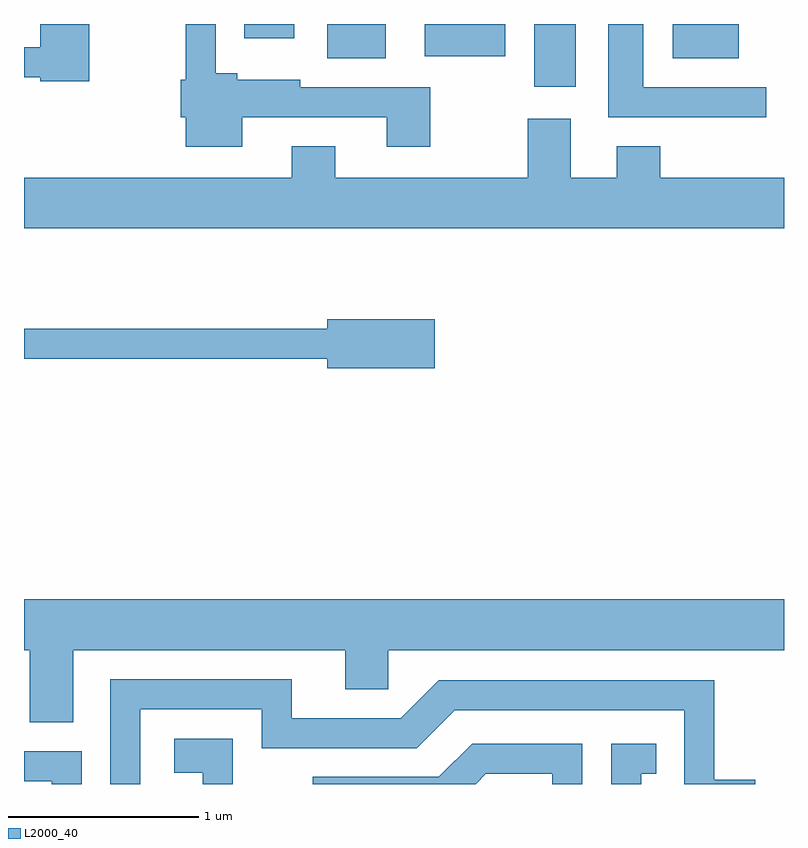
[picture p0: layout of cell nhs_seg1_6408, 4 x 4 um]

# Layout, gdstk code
import gdstk
lib = gdstk.Library(unit=1e-6, precision=1e-09)
def R(c, l, rs):  # rectangles x0, y0, x1, y1
    for r in rs: c.add(gdstk.rectangle(r[:2], r[2:], *l))
def P(c, l, *ps):  # polygons
    for p in ps: c.add(gdstk.Polygon(p, *l))
L2000_40 = (2000, 40)

nhs_seg1_6408 = lib.new_cell('nhs_seg1_6408')
R(nhs_seg1_6408, L2000_40, [(380.296,951.381,380.514,951.712), (379.206,951.531,379.514,951.712), (381.026,951.531,381.374,951.712), (379.721,951.541,380.144,951.712), (378.771,951.636,379.034,951.712)])
P(nhs_seg1_6408, L2000_40, [(377.954,951.712),(377.696,951.712),(377.696,951.589),(377.611,951.589),(377.611,951.431),(377.696,951.431),(377.696,951.411),(377.954,951.411)],
  [(381.518,951.379),(380.869,951.379),(380.869,951.712),(380.686,951.712),(380.686,951.221),(381.518,951.221)],
  [(378.759,951.221),(379.521,951.221),(379.521,951.066),(379.749,951.066),(379.749,951.379),(379.064,951.379),(379.064,951.419),(378.734,951.419),(378.734,951.454),(378.619,951.454),(378.619,951.712),(378.461,951.712),(378.461,951.419),(378.436,951.419),(378.436,951.221),(378.461,951.221),(378.461,951.066),(378.759,951.066)],
  [(381.611,950.904),(380.959,950.904),(380.959,951.069),(380.731,951.069),(380.731,950.904),(380.489,950.904),(380.489,951.214),(380.261,951.214),(380.261,950.904),(379.249,950.904),(379.249,951.069),(379.021,951.069),(379.021,950.904),(377.611,950.904),(377.611,950.636),(381.611,950.636)],
  [(379.774,950.159),(379.206,950.159),(379.206,950.109),(377.611,950.109),(377.611,949.951),(379.206,949.951),(379.206,949.901),(379.774,949.901)],
  [(377.869,948.416),(379.301,948.416),(379.301,948.211),(379.529,948.211),(379.529,948.416),(381.611,948.416),(381.611,948.684),(377.611,948.684),(377.611,948.416),(377.641,948.416),(377.641,948.036),(377.869,948.036)],
  [(378.224,948.106),(378.861,948.106),(378.861,947.901),(379.677,947.901),(379.877,948.101),(381.086,948.101),(381.086,947.712),(381.459,947.712),(381.459,947.734),(381.244,947.734),(381.244,948.259),(379.794,948.259),(379.594,948.059),(379.019,948.059),(379.019,948.264),(378.066,948.264),(378.066,947.712),(378.224,947.712)],
  [(378.709,947.949),(378.401,947.949),(378.401,947.771),(378.551,947.771),(378.551,947.712),(378.709,947.712)],
  [(380.042,947.766),(380.391,947.766),(380.391,947.712),(380.549,947.712),(380.549,947.924),(379.969,947.924),(379.794,947.749),(379.131,947.749),(379.131,947.712),(379.988,947.712)],
  [(380.859,947.766),(380.938,947.766),(380.938,947.924),(380.701,947.924),(380.701,947.712),(380.859,947.712)],
  [(377.914,947.884),(377.611,947.884),(377.611,947.726),(377.756,947.726),(377.756,947.712),(377.914,947.712)])

lib.write_gds('nhs_seg1_6408.gds')
